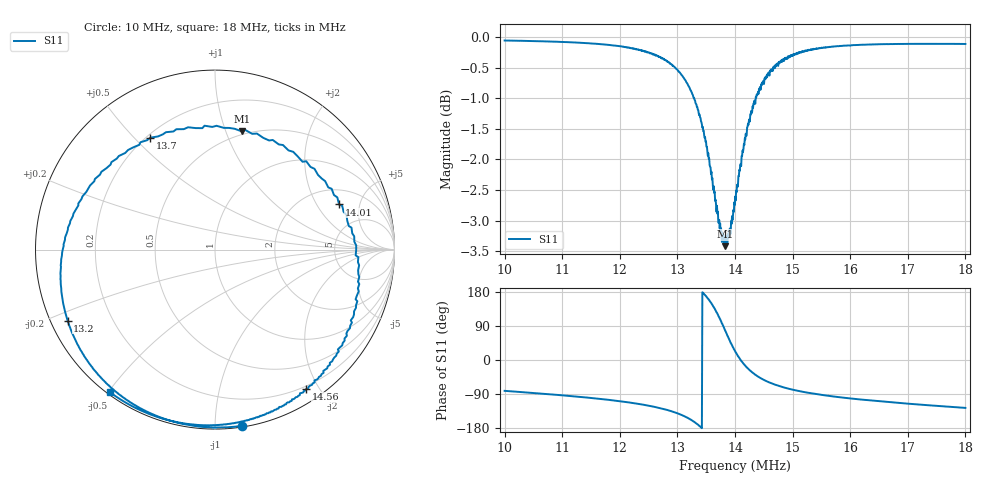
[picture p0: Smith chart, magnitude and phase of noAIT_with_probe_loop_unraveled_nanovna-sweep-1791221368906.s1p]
! NanoVNA Web complex sweep
! Processing: unaveraged complex samples; linear segment spacing; no smoothing
# Hz S RI R 50
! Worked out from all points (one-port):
!   1010 points, 10 MHz to 18 MHz, reference 50 ohm
!   lowest |S11| = -3.4 dB at 13.83 MHz (marker M1), VSWR 5.15, Z = 23.6 + j56.9 ohm
!   |S11| at or under -10 dB: nowhere
!   S11 on the Smith chart (normalised r, x): 10 MHz: 0.01, -1.16; 13.2 MHz: 0.05, -0.23; 13.7 MHz: 0.21, +0.56; 14.01 MHz: 2.89, +3.17; 14.56 MHz: 0.17, -1.84; 18 MHz: 0.01, -0.51
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1e7  0.1483 -0.9821
1.100698e7  -0.0563 -0.9889
1.200604e7  -0.317 -0.93
1.260864e7  -0.5394 -0.8032
1.282272e7  -0.6361 -0.7118
1.300509e7  -0.7308 -0.5905
1.319539e7  -0.8214 -0.3954
1.336982e7  -0.8592 -0.1122
1.349669e7  -0.8063 0.1589
1.36077e7  -0.633 0.4334
1.370284e7  -0.3603 0.6236
1.376628e7  -0.1073 0.677
1.382971e7  0.15 0.6581
1.387728e7  0.3215 0.6109
1.392486e7  0.4876 0.4895
1.400414e7  0.6815 0.2908
1.401207e7  0.6911 0.2516
1.405965e7  0.7604 0.1224
1.413101e7  0.8031 -0.0875
1.427373e7  0.7532 -0.4237
1.44006e7  0.6527 -0.6224
1.455918e7  0.5085 -0.7757
1.47574e7  0.354 -0.8853
1.50032e7  0.1958 -0.9448
1.544722e7  -0.0139 -0.9786
1.600225e7  -0.1942 -0.9643
1.700131e7  -0.4206 -0.8927
1.800036e7  -0.5856 -0.7942
